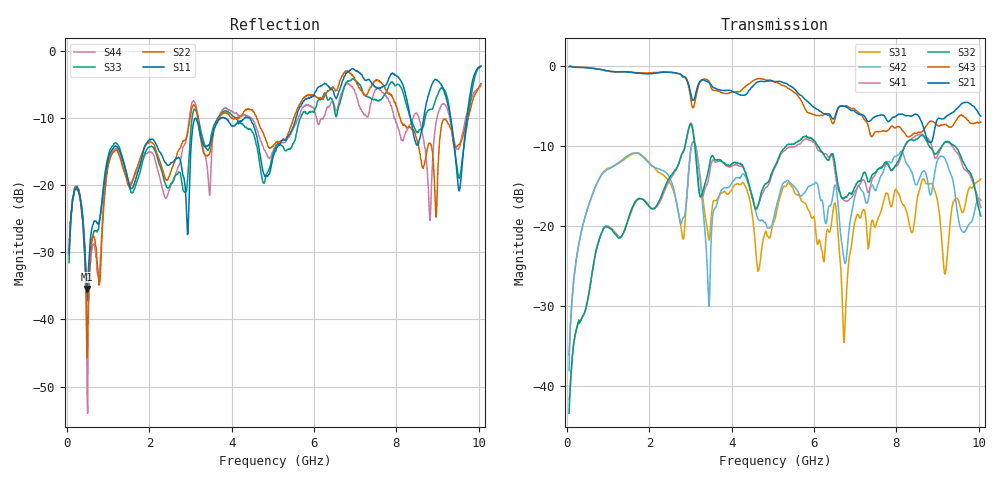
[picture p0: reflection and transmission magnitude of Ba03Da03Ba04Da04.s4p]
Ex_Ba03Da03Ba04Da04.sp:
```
* MODEL [Ba03Da03Ba04Da04]
*
*************************************
*   TYCO ELECTRONICS CONFIDENTIAL   *
*    COPYRIGHT, TYCO ELECTRONICS    *
* ALL INTERNATIONAL RIGHTS RESERVED *
*************************************
*
* Connector: Z-DOK, 0.050" PITCH,  4 ROW, RIGHT ANGLE PLUG TO RIGHT ANGLE RECEPTACLE
* Pins     : A3A4
* Board    : 0.093" Thick FR4
* Filename : BA03DA03BA04DA04.s4p
* Rev Date : 9/15/02
* Status   : VALIDATED MEASURED MODEL
* Structure: 4 Port S-parameter
* Rating   : 50 MHz to 10.05 GHz
* Transform Limits : 50 ps Min. Time Resolution 1/(2*MaxFreq)
*
*
*************************************************
* S-ELEMENT USAGE PROCEDURE:                    *
*  S-Element usage has been accurately          *
*  validated using HSPICE version 2003.09-SP1.  *
*  The following procedure details two .MODEL   *
*  parameters (FMAX & FBASE) which should be    *
*  calculated and set for each S-element.       *
*   1) Define FMAX as the highest frequency     *
*      available in the S-parameter model file. *
*   2) Calculate "prelimFBASE" as:              *
*   prelimFBASE = 1/(2*transient_time_period)   *
*   3) Calculate the minimum integer ("N")      *
*      which satisfies:                         *
*            (2^N) >= FMAX/prelimFBASE          *
*   4) Using "N", calculate "FBASE" from:       *
*               FBASE = FMAX/(2^N)              *
*                                               *
*  EXAMPLE CALCULATION:                         *
*     - largest freq point in model = 10.05 GHz *
*     - transient_time_period = 2 ns (found in  *
*        the .TRAN statement)                   *
*   1) FMAX = 10.05 GHz                         *
*   2) prelimFBASE = 1/(2*2ns) = 250 MHz        *
*   3) (2^N) >= 10.05/0.250                     *
*        where N = 5.33, forcing N = 6          *
*   4) FBASE = 10.05 GHz/(2^6) = 157.03125 MHz  *
*  NOTE: The final freqency point (FBASE*2^N)   *
*    should never exceed FMAX, or inaccurate    *
*    interpolation could result.                *
*************************************************
*
*
*************************************************
* CAUTIONS for S-Element Use:                   *
* 1) More than one S-element call within an     *
*     HSPICE analysis may result in simulation  *
*     inaccuracy.  To avoid possible            *
*     miscalculations in HSPICE when more than  *
*     one S-parameter model is required,        *
*     combine all S-parameter models first.     *
* 2) The simulation timestep resolution (2ps in *
*     the .TRAN statement below) used for the   *
*     transient analysis does not necessarily   *
*     equate to the time resolution of the      *
*     S-parameter model transform.  The model   *
*     transform resolution is stated in the     *
*     model.                                    *
* 3) The use of sinusoid sources can cause      *
*     inaccuracies.                             *
* 4) All unused ports should be terminated.     *
*************************************************
*
*
*************************************************
* Input/Output Instructions                     *
*************************************************
* Driven Ports
.PRINT TRAN PORT1=V(110)
.PRINT TRAN PORT3=V(130)
* Quiet Ports
.PRINT TRAN PORT2=V(220)
.PRINT TRAN PORT4=V(240)
*
*************************************************
* Analysis and Control                          *
*************************************************
.TRAN 2PS 2NS
.OPTIONS INGOLD=2 PROBE METHOD=GEAR POST=2
*
*************************************************
* Excitation/Sources                            *
*************************************************
XDR10402 110 130 000 DCP
*
*************************************************
* Terminations                                  *
* NOTE: Terminations lifted on driven lines.    *
*************************************************
*RPORT1 110 000 50
RPORT2 220 000 50
*RPORT3 130 000 50
RPORT4 240 000 50
*
*************************************************
* S-Element Connector Model                     *
*************************************************
SCON1 110 220 130 240 000 MNAME=SCONNECT1
.MODEL SCONNECT1 S TSTONEFILE=Ba03Da03Ba04Da04.s4p FMAX=10.05GIG FBASE=157.03125MEG
*
*************************************************
* Sub-circuits                                  *
*************************************************
** Driven Waveform
*********	0.25	0.250	0.00	0.25		
** 10-90%	volts	nanosec	low	high		
.SUBCKT	DCP	11	21	2		
*******	name	*OUT	*out	*REF		
R11	13	2	50	$ SOURCE IMPEDANCE		
V11	11	13	PWL(			
+	0.00E+00	0.002	2.50E-11	0.007	5.00E-11	0.017
+	7.50E-11	0.032	1.00E-10	0.052	2.25E-10	0.252
+	3.50E-10	0.452	3.75E-10	0.472	4.00E-10	0.487
+	4.25E-10	0.497	4.50E-10	0.502	)	
R21	23	2	50	$ SOURCE IMPEDANCE		
V21	21	23	PWL(			
+	0.00E+00	0.502	2.50E-11	0.497	5.00E-11	0.487
+	7.50E-11	0.472	1.00E-10	0.452	2.25E-10	0.252
+	3.50E-10	0.052	3.75E-10	0.032	4.00E-10	0.017
+	4.25E-10	0.007	4.50E-10	0.002	)	
*****	
.ENDS	DCP
*****
*
.END
```
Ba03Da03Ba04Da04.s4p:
!  COPYRIGHT, TYCO ELECTRONICS  !
!  ALL INTERNATIONAL RIGHTS RESERVED  !
!! These models are covered by a licensing agreement that restricts  !
!! their use and distribution.  If you have questions about the  !
!! restrictions, contact the appropriate organization within  !
!! your company  !
! THESE MODELS REPRESENT TEC/AMP CONNECTORS ONLY. DUE TO INTERNAL  !
! DESIGN AND MATERIALS, THEY SHOULD NOT BE USED FOR PRODUCTS  !
! MANUFACTURED BY COMPANIES OTHER THAN AMP.  !
! CHECK WITH TEC/AMP FOR THE MOST CURRENT MODEL SET  !
! FOR MORE INFORMATION, EMAIL: modeling@tycoelectronics.com  !
!  URL:  http://www.amp.com/simulation/  !
! PRODUCT INFORMATION CENTER:  1-800-522-6752  !
! Each file is named 'Port1Port2Port3Port4.s4p', where port 1 and  !
! port 3 are input ports and port 2 and port 4 are output ports.  !
! For example, Ba05Da05Bb05Db05.s4p would have port 1 at backplane (B) a5 !
! port 2 at daughtercard (D) a5, port 3 at backplane (B) b5,  !
! and port 4 at daughtercard (D) b5.  !
! Keep in mind that each file is the throughput for  !
! footprint-connector-footprint.  Test board traces are calibrated out,  !
! but the s-parameters include a signal path that goes through the  !
! connector footprint in a given thickness board, the connector itself,  !
! and the connector footprint in a second board.  !
! A zero Hertz interpolation data point has been added for convenience.  !
! Connector: Z-DOK, 0.050" PITCH,  4 ROW, RIGHT ANGLE PLUG TO RIGHT ANGLE RECEPTACLE
! Pins  : A3A4
! Board  : 0.093" Thick FR4
! Filename : BA03DA03BA04DA04.s4p
! Rev Date : 9/15/02
! Status  : VALIDATED MEASURED MODEL
! Structure: 4 Port S-parameter
! Rating  : 50 MHz to 10.05 GHz
! Transform Limits : 50 ps Min. Time Resolution 1/(2*MaxFreq)
# HZ  S  MA R  50
! FREQ  S11  S12  S13  S14
!  S21  S22  S23  S24
!  S31  S32  S33  S34
!  S41  S42  S43  S44
!  MAG  ANG  MAG  ANG  MAG  ANG  MAG  ANG
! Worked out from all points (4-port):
!   801 points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, 50 MHz to 10.05 GHz, reference 50 ohm
!   strongest paths, dB at 50 MHz, 2.55 GHz, 5.05 GHz, 7.55 GHz, 10.05 GHz:
!     S21: 0.0, -0.8, -1.9, -6.2, -6.2
!     S43: -0.1, -0.8, -2.0, -8.2, -7.0
!     S32: -43.4, -13.5, -12.5, -12.9, -18.7
!     S41: -41.6, -13.8, -12.7, -12.9, -17.7
!     S42: -38.0, -14.7, -18.3, -14.8, -16.8
!     S31: -36.1, -15.2, -19.1, -19.0, -14.1
!   lowest |S11| = -35.4 dB at 487.5 MHz (marker M1), VSWR 1.03, Z = 51.4 - j0.946 ohm
!   |S11| at or under -10 dB: start of sweep to 3.12 GHz; 3.13 GHz to 3.735 GHz (605.6 MHz wide, 17.6 % of centre); 4.438 GHz to 5.557 GHz (1.119 GHz wide, 22.4 % of centre)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
5e7  0.03046 70.8  0.9915 -2.7  0.01499 80.7  0.006281 -97.0
     0.9953 -2.4  0.03093 83.8  0.005235 -56.6  0.01523 86.6
     0.01569 88.6  0.006771 -91.4  0.02647 68.8  1.001 -2.6
     0.008298 -96.8  0.01254 72.9  0.9907 -2.3  0.03963 79.0
4.875e8  0.01692 -32.9  0.9778 -29.8  0.1265 57.6  0.03263 -124.3
         0.978 -29.9  0.005195 159.1  0.03347 -123.9  0.1268 58.9
         0.1266 57.6  0.03348 -123.8  0.01386 -15.0  0.9779 -30.6
         0.03287 -124.7  0.1269 58.9  0.9792 -30.6  0.002739 88.5
1.005e10  0.7733 -121.3  0.4892 165.8  0.1986 -5.7  0.1314 -45.3
          0.487 165.0  0.5733 -79.0  0.116 -60.9  0.1446 43.3
          0.1976 -6.1  0.1157 -59.9  0.7731 -137.6  0.4496 157.7
          0.1308 -46.3  0.145 42.7  0.4474 156.9  0.5563 -85.2
